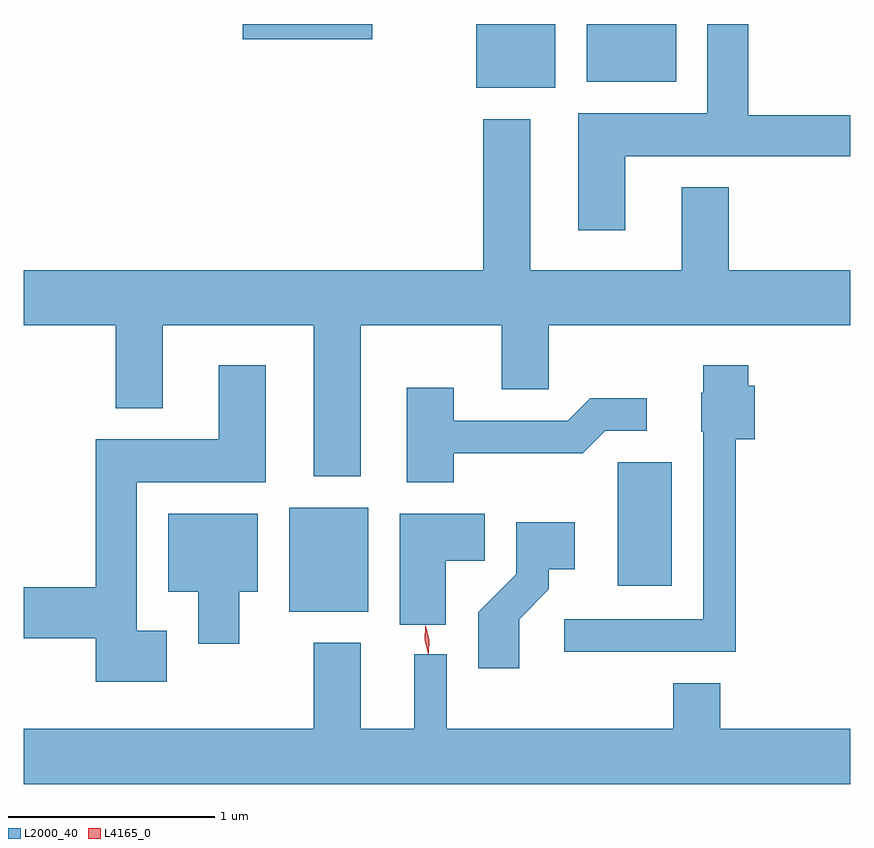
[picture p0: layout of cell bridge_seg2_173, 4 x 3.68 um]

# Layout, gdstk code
import gdstk
lib = gdstk.Library(unit=1e-6, precision=1e-09)
def R(c, l, rs):  # rectangles x0, y0, x1, y1
    for r in rs: c.add(gdstk.rectangle(r[:2], r[2:], *l))
def P(c, l, *ps):  # polygons
    for p in ps: c.add(gdstk.Polygon(p, *l))
L2000_40 = (2000, 40)
L4165_0 = (4165, 0)

bridge_seg2_173 = lib.new_cell('bridge_seg2_173')
R(bridge_seg2_173, L2000_40, [(836.351,984.771,836.734,985.274), (837.941,984.896,838.204,985.494), (837.256,987.306,837.639,987.615), (837.791,987.336,838.224,987.615), (836.126,987.541,836.754,987.615)])
P(bridge_seg2_173, L2000_40, [(837.979,986.976),(839.067,986.976),(839.067,987.174),(838.574,987.174),(838.574,987.615),(838.376,987.615),(838.376,987.184),(837.751,987.184),(837.751,986.616),(837.979,986.616)],
  [(836.699,986.156),(837.381,986.156),(837.381,985.846),(837.609,985.846),(837.609,986.156),(839.067,986.156),(839.067,986.424),(838.479,986.424),(838.479,986.824),(838.251,986.824),(838.251,986.424),(837.519,986.424),(837.519,987.154),(837.291,987.154),(837.291,986.424),(835.067,986.424),(835.067,986.156),(835.511,986.156),(835.511,985.756),(835.739,985.756),(835.739,986.156),(836.471,986.156),(836.471,985.426),(836.699,985.426)],
  [(835.759,984.679),(835.614,984.679),(835.614,985.396),(836.239,985.396),(836.239,985.964),(836.011,985.964),(836.011,985.604),(835.416,985.604),(835.416,984.889),(835.067,984.889),(835.067,984.641),(835.416,984.641),(835.416,984.431),(835.759,984.431)],
  [(838.514,985.606),(838.604,985.606),(838.604,985.864),(838.574,985.864),(838.574,985.964),(838.356,985.964),(838.356,985.83),(838.346,985.83),(838.346,985.64),(838.356,985.64),(838.356,984.734),(837.683,984.734),(837.683,984.576),(838.514,984.576)],
  [(837.149,985.536),(837.772,985.536),(837.882,985.646),(838.083,985.646),(838.083,985.804),(837.809,985.804),(837.699,985.694),(837.149,985.694),(837.149,985.854),(836.921,985.854),(836.921,985.396),(837.149,985.396)],
  [(837.109,985.016),(837.299,985.016),(837.299,985.244),(836.886,985.244),(836.886,984.706),(837.109,984.706)],
  [(836.109,984.866),(836.199,984.866),(836.199,985.244),(835.766,985.244),(835.766,984.866),(835.911,984.866),(835.911,984.616),(836.109,984.616)],
  [(837.464,984.734),(837.609,984.879),(837.609,984.976),(837.734,984.976),(837.734,985.204),(837.451,985.204),(837.451,984.952),(837.266,984.767),(837.266,984.496),(837.464,984.496)],
  [(839.067,984.204),(838.439,984.204),(838.439,984.424),(838.211,984.424),(838.211,984.204),(837.114,984.204),(837.114,984.563),(836.956,984.563),(836.956,984.204),(836.699,984.204),(836.699,984.619),(836.471,984.619),(836.471,984.204),(835.067,984.204),(835.067,983.936),(839.067,983.936)])
P(bridge_seg2_173, L4165_0, [(837.024,984.565),(837.007,984.632),(837.009,984.702),(837.009,984.702),(837.01,984.702),(837.027,984.635),(837.025,984.565),(837.025,984.565)],
  [(837.027,984.568),(837.027,984.569),(837.01,984.633),(837.012,984.7),(837.012,984.7),(837.013,984.7),(837.03,984.635),(837.028,984.569)])

lib.write_gds('bridge_seg2_173.gds')
